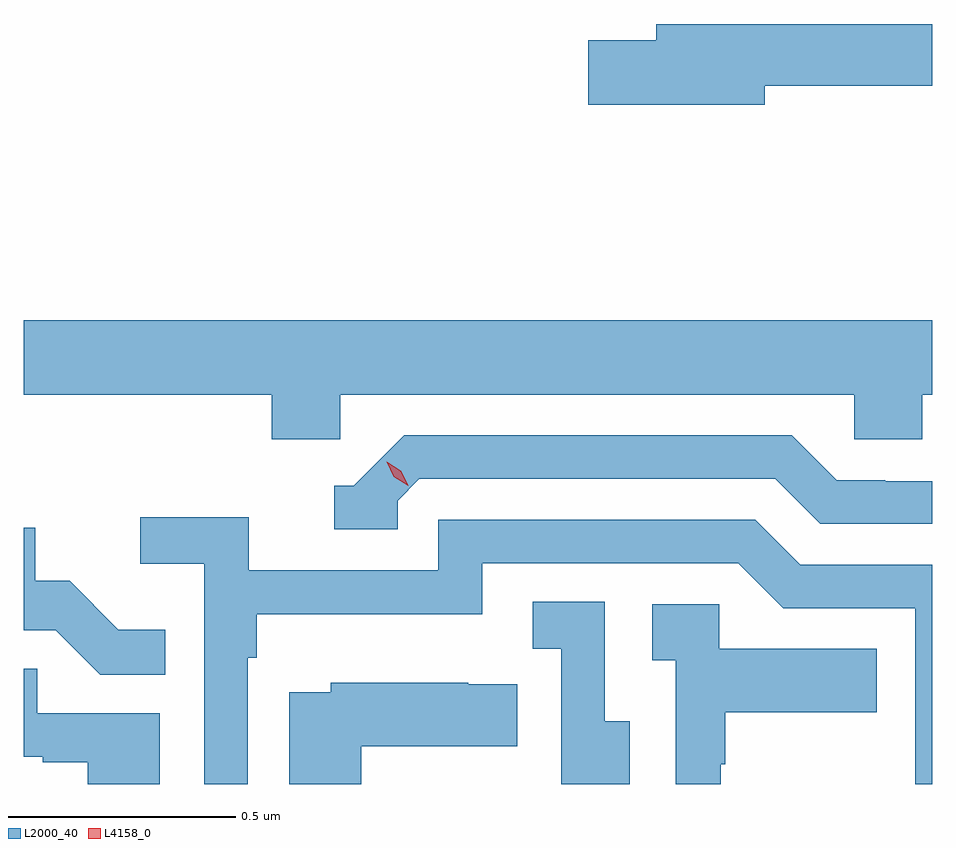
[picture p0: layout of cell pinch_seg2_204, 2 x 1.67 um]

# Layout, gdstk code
import gdstk
lib = gdstk.Library(unit=1e-6, precision=1e-09)
def P(c, l, *ps):  # polygons
    for p in ps: c.add(gdstk.Polygon(p, *l))
L2000_40 = (2000, 40)
L4158_0 = (4158, 0)

pinch_seg2_204 = lib.new_cell('pinch_seg2_204')
P(pinch_seg2_204, L2000_40, [(1003.552,664.3),(1003.921,664.3),(1003.921,664.436),(1003.313,664.436),(1003.313,664.4),(1003.164,664.4),(1003.164,664.258),(1003.552,664.258)],
  [(1002.618,663.62),(1003.749,663.62),(1003.749,663.522),(1003.899,663.522),(1003.899,663.62),(1003.921,663.62),(1003.921,663.784),(1001.921,663.784),(1001.921,663.62),(1002.467,663.62),(1002.467,663.522),(1002.618,663.522)],
  [(1002.744,663.387),(1002.792,663.435),(1003.575,663.435),(1003.674,663.336),(1003.921,663.336),(1003.921,663.429),(1003.818,663.429),(1003.818,663.432),(1003.711,663.432),(1003.612,663.531),(1002.759,663.531),(1002.648,663.42),(1002.605,663.42),(1002.605,663.324),(1002.744,663.324)],
  [(1002.414,663.041),(1002.434,663.041),(1002.434,663.137),(1002.93,663.137),(1002.93,663.249),(1003.494,663.249),(1003.593,663.15),(1003.884,663.15),(1003.884,662.763),(1003.921,662.763),(1003.921,663.246),(1003.63,663.246),(1003.531,663.345),(1002.834,663.345),(1002.834,663.234),(1002.416,663.234),(1002.416,663.35),(1002.177,663.35),(1002.177,663.248),(1002.318,663.248),(1002.318,662.763),(1002.414,662.763)],
  [(1002.233,663.103),(1002.129,663.103),(1002.022,663.21),(1001.946,663.21),(1001.946,663.327),(1001.921,663.327),(1001.921,663.102),(1001.991,663.102),(1002.089,663.004),(1002.233,663.004)],
  [(1003.255,662.901),(1003.2,662.901),(1003.2,663.164),(1003.041,663.164),(1003.041,663.061),(1003.104,663.061),(1003.104,662.763),(1003.255,662.763)],
  [(1003.455,662.807),(1003.465,662.807),(1003.465,662.921),(1003.799,662.921),(1003.799,663.061),(1003.452,663.061),(1003.452,663.159),(1003.305,663.159),(1003.305,663.035),(1003.356,663.035),(1003.356,662.763),(1003.455,662.763)],
  [(1002.22,662.919),(1001.951,662.919),(1001.951,663.017),(1001.921,663.017),(1001.921,662.823),(1001.963,662.823),(1001.963,662.811),(1002.062,662.811),(1002.062,662.763),(1002.22,662.763)],
  [(1002.664,662.846),(1003.007,662.846),(1003.007,662.983),(1002.899,662.983),(1002.899,662.986),(1002.597,662.986),(1002.597,662.965),(1002.506,662.965),(1002.506,662.763),(1002.664,662.763)])
P(pinch_seg2_204, L4158_0, [(1002.767,663.42),(1002.736,663.439),(1002.72,663.472),(1002.72,663.472),(1002.72,663.472),(1002.751,663.453),(1002.767,663.421),(1002.767,663.42)])

lib.write_gds('pinch_seg2_204.gds')
